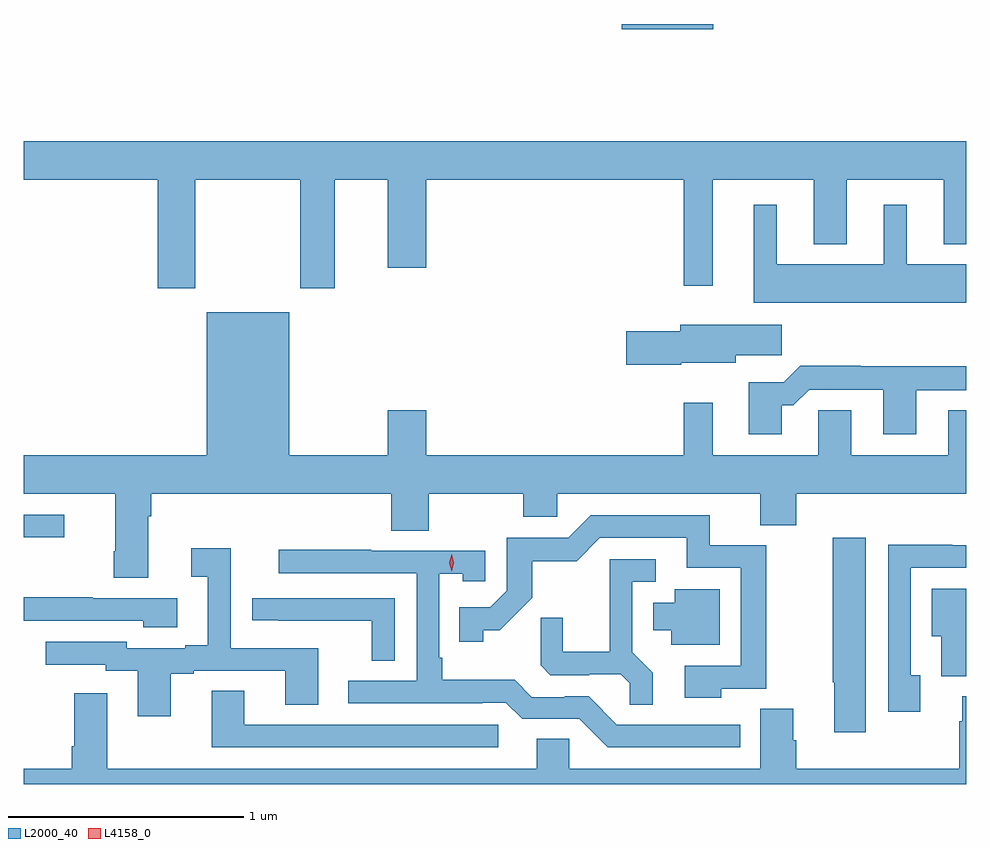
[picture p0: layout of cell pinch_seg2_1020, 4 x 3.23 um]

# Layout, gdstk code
import gdstk
lib = gdstk.Library(unit=1e-6, precision=1e-09)
def R(c, l, rs):  # rectangles x0, y0, x1, y1
    for r in rs: c.add(gdstk.rectangle(r[:2], r[2:], *l))
def P(c, l, *ps):  # polygons
    for p in ps: c.add(gdstk.Polygon(p, *l))
L2000_40 = (2000, 40)
L4158_0 = (4158, 0)

pinch_seg2_1020 = lib.new_cell('pinch_seg2_1020')
R(pinch_seg2_1020, L2000_40, [(271.356,584.847,271.528,584.943), (273.894,587.002,274.282,587.025)])
P(pinch_seg2_1020, L2000_40, [(272.085,586.364),(272.53,586.364),(272.53,585.903),(272.677,585.903),(272.677,586.364),(272.9,586.364),(272.9,585.99),(273.064,585.99),(273.064,586.364),(274.158,586.364),(274.158,585.915),(274.279,585.915),(274.279,586.364),(274.709,586.364),(274.709,586.091),(274.849,586.091),(274.849,586.364),(275.261,586.364),(275.261,586.091),(275.356,586.091),(275.356,586.528),(271.356,586.528),(271.356,586.364),(271.925,586.364),(271.925,585.903),(272.085,585.903)],
  [(275.356,586.006),(275.104,586.006),(275.104,586.258),(275.006,586.258),(275.006,586.006),(274.552,586.006),(274.552,586.258),(274.454,586.258),(274.454,585.842),(275.356,585.842)],
  [(271.885,584.936),(271.898,584.936),(271.898,585.032),(272.915,585.032),(272.915,584.875),(273.075,584.875),(273.075,585.032),(273.475,585.032),(273.475,584.934),(273.621,584.934),(273.621,585.032),(274.481,585.032),(274.481,584.899),(274.634,584.899),(274.634,585.032),(275.356,585.032),(275.356,585.386),(275.279,585.386),(275.279,585.196),(274.867,585.196),(274.867,585.386),(274.728,585.386),(274.728,585.196),(274.279,585.196),(274.279,585.418),(274.158,585.418),(274.158,585.196),(273.064,585.196),(273.064,585.385),(272.9,585.385),(272.9,585.196),(272.482,585.196),(272.482,585.802),(272.132,585.802),(272.132,585.196),(271.356,585.196),(271.356,585.032),(271.745,585.032),(271.745,584.788),(271.738,584.788),(271.738,584.676),(271.885,584.676)],
  [(274.146,585.587),(274.378,585.587),(274.378,585.619),(274.573,585.619),(274.573,585.748),(274.142,585.748),(274.142,585.722),(273.912,585.722),(273.912,585.58),(274.146,585.58)],
  [(274.573,585.407),(274.622,585.407),(274.689,585.474),(275.003,585.474),(275.003,585.285),(275.143,585.285),(275.143,585.471),(275.356,585.471),(275.356,585.572),(274.907,585.572),(274.907,585.575),(274.652,585.575),(274.582,585.505),(274.433,585.505),(274.433,585.285),(274.573,585.285)],
  [(274.317,584.205),(274.507,584.205),(274.507,584.814),(274.268,584.814),(274.268,584.94),(273.762,584.94),(273.666,584.844),(273.405,584.844),(273.405,584.619),(273.336,584.55),(273.205,584.55),(273.205,584.403),(273.306,584.403),(273.306,584.453),(273.376,584.453),(273.514,584.59),(273.514,584.746),(273.703,584.746),(273.801,584.844),(274.169,584.844),(274.169,584.718),(274.398,584.718),(274.398,584.301),(274.161,584.301),(274.161,584.165),(274.317,584.165)],
  [(274.93,584.845),(274.789,584.845),(274.789,584.231),(274.796,584.231),(274.796,584.019),(274.93,584.019)],
  [(275.161,584.262),(275.121,584.262),(275.121,584.718),(275.356,584.718),(275.356,584.814),(275.297,584.814),(275.297,584.816),(275.025,584.816),(275.025,584.106),(275.161,584.106)],
  [(271.981,584.268),(272.077,584.268),(272.077,584.28),(272.465,584.28),(272.465,584.137),(272.605,584.137),(272.605,584.376),(272.235,584.376),(272.235,584.8),(272.067,584.8),(272.067,584.68),(272.138,584.68),(272.138,584.389),(272.042,584.389),(272.042,584.376),(271.794,584.376),(271.794,584.403),(271.449,584.403),(271.449,584.307),(271.704,584.307),(271.704,584.28),(271.841,584.28),(271.841,584.088),(271.981,584.088)],
  [(274.396,584.052),(273.873,584.052),(273.753,584.172),(273.652,584.172),(273.652,584.169),(273.513,584.169),(273.44,584.242),(273.133,584.242),(273.133,584.335),(273.12,584.335),(273.12,584.693),(273.219,584.693),(273.219,584.661),(273.315,584.661),(273.315,584.79),(272.831,584.79),(272.831,584.793),(272.439,584.793),(272.439,584.694),(273.024,584.694),(273.024,584.238),(272.733,584.238),(272.733,584.142),(273.302,584.142),(273.302,584.145),(273.402,584.145),(273.471,584.076),(273.714,584.076),(273.834,583.956),(274.396,583.956)],
  [(274.025,584.273),(273.939,584.359),(273.939,584.658),(274.039,584.658),(274.039,584.754),(273.842,584.754),(273.842,584.362),(273.644,584.362),(273.644,584.505),(273.55,584.505),(273.55,584.303),(273.591,584.262),(273.756,584.262),(273.756,584.265),(273.89,584.265),(273.927,584.228),(273.927,584.137),(274.025,584.137)],
  [(275.356,584.629),(275.21,584.629),(275.21,584.426),(275.249,584.426),(275.249,584.258),(275.356,584.258)],
  [(274.309,584.626),(274.118,584.626),(274.118,584.569),(274.028,584.569),(274.028,584.453),(274.103,584.453),(274.103,584.39),(274.309,584.39)],
  [(272.008,584.589),(271.649,584.589),(271.649,584.592),(271.356,584.592),(271.356,584.493),(271.863,584.493),(271.863,584.465),(272.008,584.465)],
  [(272.931,584.589),(272.325,584.589),(272.325,584.494),(272.437,584.494),(272.437,584.493),(272.833,584.493),(272.833,584.323),(272.931,584.323)],
  [(273.37,584.052),(272.293,584.052),(272.293,584.195),(272.153,584.195),(272.153,583.956),(273.37,583.956)],
  [(275.356,584.173),(275.339,584.173),(275.339,584.066),(275.327,584.066),(275.327,583.864),(274.634,583.864),(274.634,583.986),(274.621,583.986),(274.621,584.12),(274.481,584.12),(274.481,583.864),(273.672,583.864),(273.672,583.991),(273.533,583.991),(273.533,583.864),(271.711,583.864),(271.711,584.185),(271.571,584.185),(271.571,583.96),(271.559,583.96),(271.559,583.864),(271.356,583.864),(271.356,583.8),(275.356,583.8)])
P(pinch_seg2_1020, L4158_0, [(273.172,584.703),(273.172,584.703),(273.162,584.739),(273.172,584.774),(273.172,584.774),(273.173,584.774),(273.182,584.739),(273.173,584.703)])

lib.write_gds('pinch_seg2_1020.gds')
